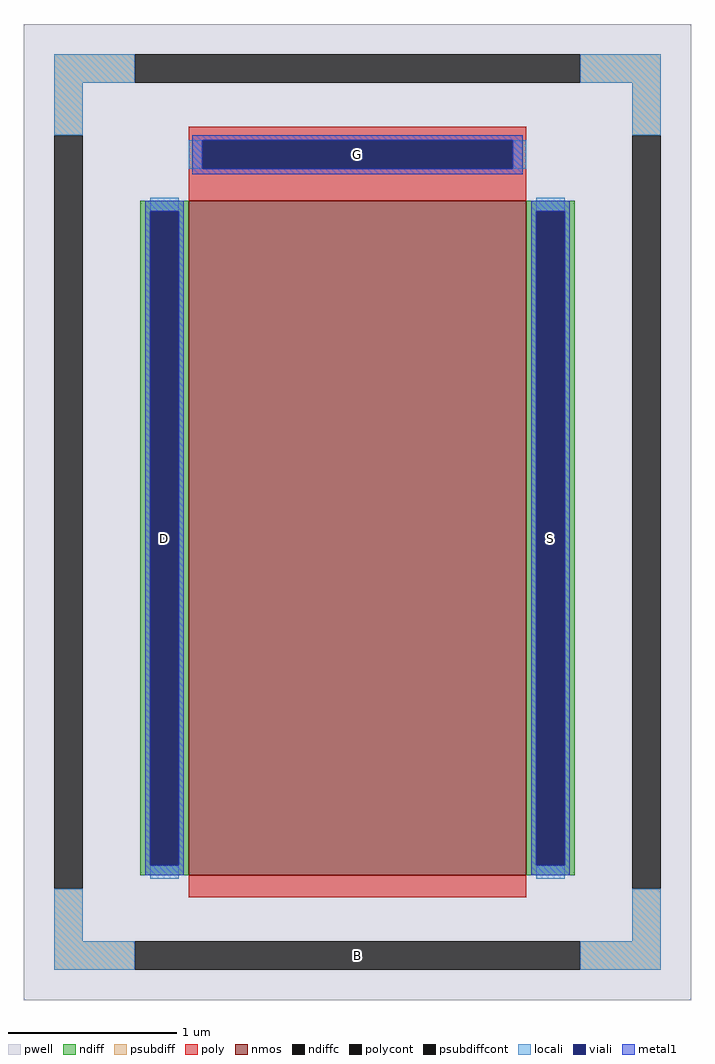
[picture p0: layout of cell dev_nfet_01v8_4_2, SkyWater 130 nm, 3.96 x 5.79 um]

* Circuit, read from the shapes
.subckt dev_nfet_01v8_4_2 B D S G
XM1 S G D B sky130_fd_pr__nfet_01v8 w=4 l=2
.ends

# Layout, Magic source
magic
tech sky130A
magscale 1 2
<< pwell >>
rect -396 -579 396 579
<< nmos >>
rect -200 -431 200 369
<< ndiff >>
rect -258 357 -200 369
rect -258 -419 -246 357
rect -212 -419 -200 357
rect -258 -431 -200 -419
rect 200 357 258 369
rect 200 -419 212 357
rect 246 -419 258 357
rect 200 -431 258 -419
<< ndiffc >>
rect -246 -419 -212 357
rect 212 -419 246 357
<< psubdiff >>
rect -360 509 -264 543
rect 264 509 360 543
rect -360 447 -326 509
rect 326 447 360 509
rect -360 -509 -326 -447
rect 326 -509 360 -447
rect -360 -543 -264 -509
rect 264 -543 360 -509
<< psubdiffcont >>
rect -264 509 264 543
rect -360 -447 -326 447
rect 326 -447 360 447
rect -264 -543 264 -509
<< poly >>
rect -200 441 200 457
rect -200 407 -184 441
rect 184 407 200 441
rect -200 369 200 407
rect -200 -457 200 -431
<< polycont >>
rect -184 407 184 441
<< locali >>
rect -360 509 -264 543
rect 264 509 360 543
rect -360 447 -326 509
rect 326 447 360 509
rect -200 407 -184 441
rect 184 407 200 441
rect -246 357 -212 373
rect -246 -435 -212 -419
rect 212 357 246 373
rect 212 -435 246 -419
rect -360 -509 -326 -447
rect 326 -509 360 -447
rect -360 -543 -264 -509
rect 264 -543 360 -509
<< viali >>
rect -184 407 184 441
rect -246 -419 -212 357
rect 212 -419 246 357
<< metal1 >>
rect -196 441 196 447
rect -196 407 -184 441
rect 184 407 196 441
rect -196 401 196 407
rect -252 357 -206 369
rect -252 -419 -246 357
rect -212 -419 -206 357
rect -252 -431 -206 -419
rect 206 357 252 369
rect 206 -419 212 357
rect 246 -419 252 357
rect 206 -431 252 -419
<< labels >>
rlabel psubdiffcont 0 -526 0 -526 0 B
port 1 nsew
rlabel ndiffc -229 -31 -229 -31 0 D
port 2 nsew
rlabel ndiffc 229 -31 229 -31 0 S
port 3 nsew
rlabel polycont 0 424 0 424 0 G
port 4 nsew
<< properties >>
string FIXED_BBOX -343 -526 343 526
<< end >>
